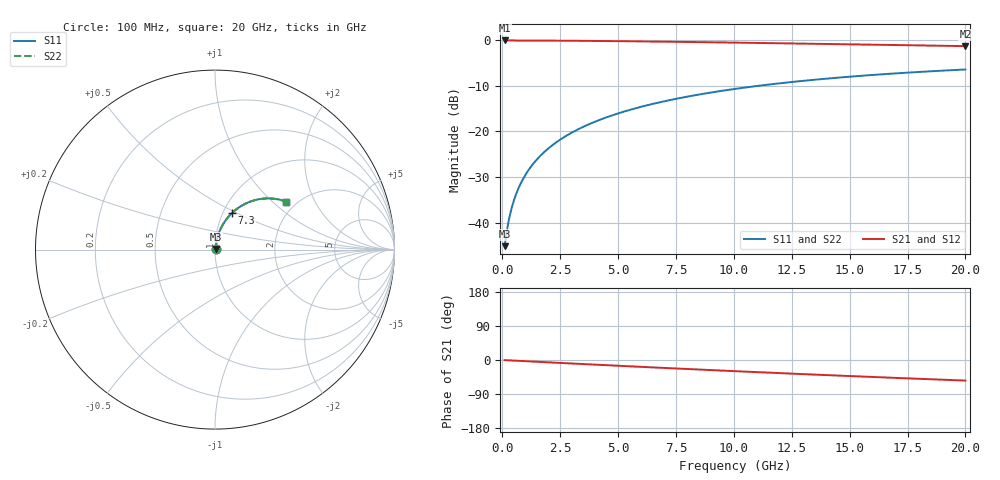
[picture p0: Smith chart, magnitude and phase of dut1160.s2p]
! Touchstone file exported from HFSS 2026.1.0
!  File:  C:/ffzhzh/LocalFiles/Ansys_Project_Files/temp_train_TMRDL_1160_1783162281_43440.aedt
!  Generated:  06:52:47 PM Jul  4, 2026
!  Design:  TMRDL
!  Project:  temp_train_TMRDL_1160_1783162281_43440
! Variables:
!  h_bsmrdl = 2um
!  h_ox = 20um
!  h_rdl = 5um
!  h_sub = 80um
!  h_tmrdl = 4.63um
!  h_tsv = 80um
!  h_via = 3um
!  l_bsmrdl = 300um
!  l_sub = 1240.73um
!  l_tmrdl = 840.73um
!  m_sub = 200um
!  pitch = 40.94um
!  r_tsv = 6um
!  s_tmrdl = 10um
!  w_bsmrdl = 18um
!  w_sub = 500um
!  w_tmrdl = 15.35um
!  x_tsv_center1 = 848.405um
!  x_tsv_center2 = 1166.405um
!  x_tsv_center3 = 2022.485um
!  x_tsv_center4 = 2340.485um
!  x_tsv_center5 = 3196.565um
!  x_tsv_center6 = 3514.565um
# GHz S MA R 50.000000
! Terminal data exported
! Port[1] = TM_RDL1_1_T1
! Port[2] = TM_RDL1_1_T2
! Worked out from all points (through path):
!   200 points, 100 MHz to 20 GHz, reference 50 ohm
!   highest |S21| = -0.04 dB at 100 MHz (marker M1); lowest = -1.3 dB at 20 GHz (marker M2)
!   group delay of S21, straight-line fit = 7.54 ps
!   lowest |S11| = -45.2 dB at 100 MHz (marker M3), VSWR 1.01, Z = 50.4 + j0.352 ohm
!   |S11| at or under -10 dB: start of sweep to 11.04 GHz
!   |S22| runs from -45.2 to -6.4 dB; largest |S21 - S12| = 3e-15
!   S11 on the Smith chart (normalised r, x): 100 MHz: 1.01, +0.01; 7.3 GHz: 1.10, +0.47; 20 GHz: 1.77, +1.23
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0.1  0.00552 39.2  0.9957 -0.3  0.9957 -0.3  0.00552 39.2
! Gamma 0 0 0 0
! Port Impedance 50 0 50 0
0.2  0.008225 56.9  0.9956 -0.6  0.9956 -0.6  0.008225 56.9
0.3  0.01126 65.0  0.9954 -1.0  0.9954 -1.0  0.01126 65.0
0.4  0.01436 69.5  0.9952 -1.3  0.9952 -1.3  0.01436 69.5
0.5  0.0175 72.4  0.995 -1.6  0.995 -1.6  0.0175 72.4
0.6  0.02066 74.3  0.9949 -1.9  0.9949 -1.9  0.02066 74.3
0.8  0.02703 76.7  0.9946 -2.5  0.9946 -2.5  0.02703 76.7
1.1  0.03664 78.3  0.9941 -3.4  0.9941 -3.4  0.03664 78.3
1.5  0.04949 78.9  0.9932 -4.7  0.9932 -4.7  0.04949 78.9
1.8  0.05911 78.8  0.9925 -5.6  0.9925 -5.6  0.05911 78.8
2.1  0.06869 78.5  0.9916 -6.5  0.9916 -6.5  0.06869 78.5
2.7  0.08769 77.4  0.9896 -8.3  0.9896 -8.3  0.08769 77.4
3.5  0.1126 75.5  0.9863 -10.7  0.9863 -10.7  0.1126 75.5
4.2  0.1339 73.7  0.9829 -12.8  0.9829 -12.8  0.1339 73.7
5  0.1577 71.5  0.9785 -15.2  0.9785 -15.2  0.1577 71.5
6.8  0.209 66.7  0.9673 -20.4  0.9673 -20.4  0.209 66.6
7.3  0.2226 65.3  0.9638 -21.9  0.9638 -21.9  0.2226 65.3
8.6  0.2569 61.8  0.9544 -25.5  0.9544 -25.5  0.2569 61.8
10.1  0.2942 57.9  0.9429 -29.6  0.9429 -29.6  0.2942 57.8
13.4  0.3675 49.5  0.9159 -38.3  0.9159 -38.3  0.3675 49.5
16.7  0.4288 41.5  0.8886 -46.6  0.8886 -46.6  0.4288 41.5
20  0.4783 34.0  0.8632 -54.3  0.8632 -54.3  0.4783 33.9
